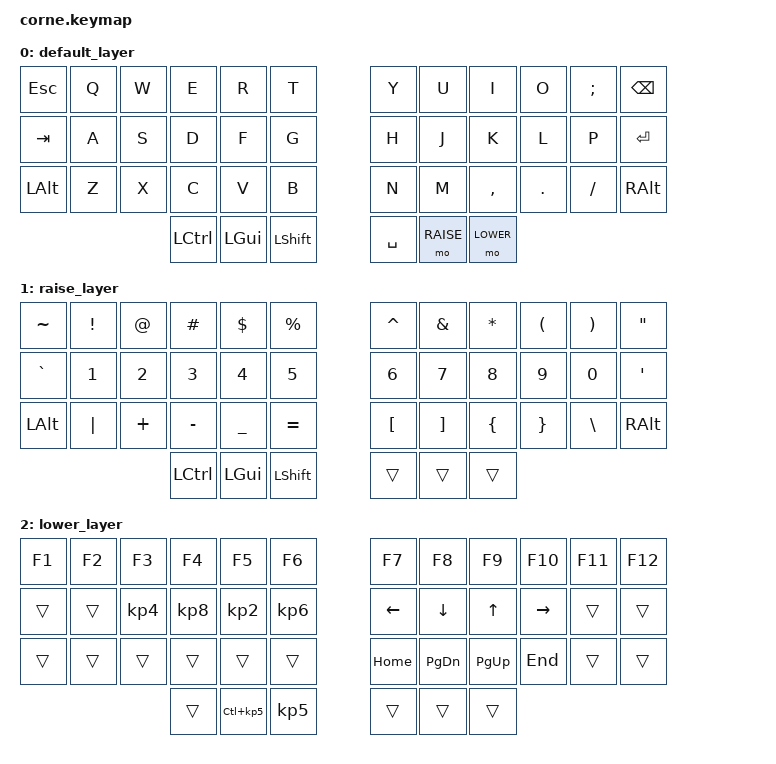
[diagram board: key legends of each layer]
/*
 * Copyright (c) 2020 The ZMK Contributors
 *
 * SPDX-License-Identifier: MIT
 */

#include <behaviors.dtsi>
#include <dt-bindings/zmk/keys.h>
#include <dt-bindings/zmk/bt.h>

#define DEFAULT 0
#define RAISE   1
#define LOWER   2

/ {
        keymap {
                compatible = "zmk,keymap";

                default_layer {
// +----------------------------------------------------------------------------+
// | ESC |  Q  |  W  |  E  |  R  |  T  |   |  Y  |  U  |  I  |  O  |  ;  | BKS |
// | TAB |  A  |  S  |  D  |  F  |  G  |   |  H  |  J  |  K  |  L  |  P  | ENT |
// | ALT |  Z  |  X  |  C  |  V  |  B  |   |  N  |  M  |  ,  |  .  |  /  | ALT |
//                   | CTL | CMD | SHF |   | SPC | RSE | LWR |
                        bindings = <
    &kp ESC   &kp Q &kp W &kp E &kp R &kp T   &kp Y &kp U &kp I     &kp O   &kp SEMI &kp BSPC
    &kp TAB   &kp A &kp S &kp D &kp F &kp G   &kp H &kp J &kp K     &kp L   &kp P    &kp RET
    &kp LALT  &kp Z &kp X &kp C &kp V &kp B   &kp N &kp M &kp COMMA &kp DOT &kp FSLH &kp RALT
               &kp LCTRL &kp LGUI &kp LSHFT   &kp SPACE &mo RAISE &mo LOWER
                        >;
                };

                raise_layer {
// +---------------------------------------------------------------------------+
// |  ~  |  !  |  @  |  #  |  $  |  %  |   |  ^  |  &  |  *  |  (  |  )  |  "  |
// |  `  |  1  |  2  |  3  |  4  |  5  |   |  6  |  7  |  8  |  9  |  0  |  '  |
// | ALT |  |  |  +  |  -  |  _  |  =  |   |  [  |  ]  |  {  |  }  |  \  | ALT |
//                   | CTL | CMD | SHF |   |     |     |     |
                        bindings = <
    &kp TILDE &kp EXCL &kp AT    &kp HASH  &kp DLLR    &kp PRCNT &kp CARET &kp AMPS &kp STAR &kp LPAR &kp RPAR &kp DQT
    &kp GRAVE &kp N1   &kp N2    &kp N3    &kp N4      &kp N5    &kp N6    &kp N7   &kp N8   &kp N9   &kp N0   &kp SQT
    &kp LALT  &kp PIPE &kp PLUS  &kp MINUS &kp UNDER   &kp EQUAL &kp LBKT  &kp RBKT &kp LBRC &kp RBRC &kp BSLH &kp RALT
                       &kp LCTRL &kp LGUI &kp LSHFT   &trans &trans &trans
                        >;
                };

                lower_layer {
// +----------------------------------------------------------------------------+
// | F1  | F2  | F3  | F4  | F5  | F6  |   | F7  | F8  | F9  | F10 | F11 | F12 |
// |     |     | MS← | MS↑ | MS↓ | MS→ |   |  ←  |  ↓  |  ↑  |  →  |     |     |
// |     |     |     |     |     |     |   | HOM | PG↓ | PG↑ | END |     |     |
//                   |     | MS2 | MS1 |   |     |     |     |
                        bindings = <
    &kp F1  &kp F2  &kp F3    &kp F4    &kp F5    &kp F6      &kp F7   &kp F8    &kp F9    &kp F10   &kp F11 &kp F12
    &trans  &trans  &kp KP_N4 &kp KP_N8 &kp KP_N2 &kp KP_N6   &kp LEFT &kp DOWN  &kp UP    &kp RIGHT &trans  &trans
    &trans  &trans  &trans    &trans    &trans    &trans      &kp HOME &kp PG_DN &kp PG_UP &kp END   &trans  &trans
                          &trans &kp LC(KP_N5) &kp KP_N5      &trans &trans &trans
                        >;
                };
        };
};
